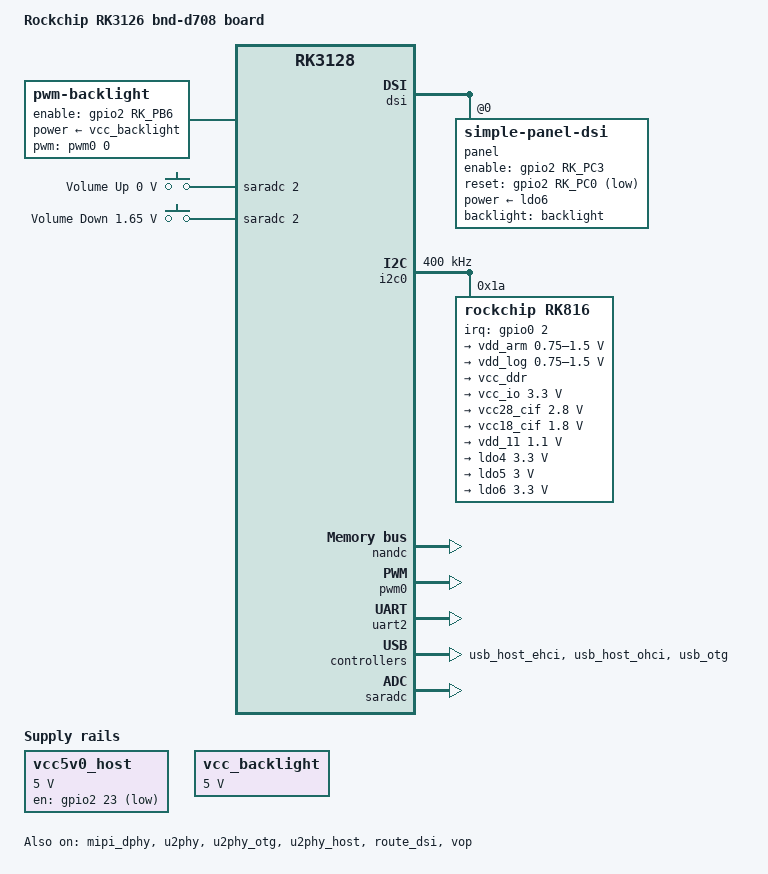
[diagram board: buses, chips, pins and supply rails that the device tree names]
/*
 * (C) Copyright 2017 Rockchip Electronics Co., Ltd
 *
 * SPDX-License-Identifier:     GPL-2.0+
 */

/dts-v1/;

#include "rk3128.dtsi"
#include "rk3128-u-boot.dtsi"
#include <dt-bindings/input/input.h>

/ {
	model = "Rockchip RK3126 bnd-d708 board";
	compatible = "rockchip,rk3128-evb", "rockchip,rk3128";

	chosen {
		stdout-path = &uart2;
	};

	vcc5v0_host: vcc5v0-host-drv {
		compatible = "regulator-fixed";
		regulator-name = "vcc5v0_host";
		gpio = <&gpio2 23 GPIO_ACTIVE_HIGH>;
		pinctrl-names = "default";
		pinctrl-0 = <&host_vbus_drv>;
		regulator-min-microvolt = <5000000>;
		regulator-max-microvolt = <5000000>;
		regulator-always-on;
	};

	vcc_backlight: vcc-backlight {
		compatible = "regulator-fixed";
		regulator-name = "vcc_backlight";
		regulator-min-microvolt = <5000000>;
		regulator-max-microvolt = <5000000>;
		regulator-always-on;
	};

	backlight: backlight {
		compatible = "pwm-backlight";
		brightness-levels = <
			255 169 168 168 167 166 166 165
			164 164 163 162 162 161 160 160
			159 158 158 157 156 156 155 154
			154 153 152 152 151 150 150 149
			148 148 147 146 146 145 144 144
			143 142 142 141 140 140 139 138
			138 137 136 136 135 134 134 133
			132 132 131 130 130 129 128 128
			127 126 126 125 124 124 123 122
			122 121 120 120 119 118 118 117
			116 116 115 114 114 113 112 112
			111 110 110 109 108 108 107 106
			106 105 104 104 103 102 102 101
			100 100  99  98  98  97  96  96
			 95  94  94  93  92  92  91  90
			 90  89  88  88  87  86  86  85
			 84  84  83  82  82  81  80  80
			 79  78  78  77  76  76  75  74
			 74  73  72  72  71  70  70  69
			 68  68  67  66  66  65  64  64
			 63  62  62  61  60  60  59  58
			 58  57  56  56  55  54  54  53
			 52  52  51  50  50  49  48  48
			 47  46  46  45  44  44  43  42
			 42  41  40  40  39  38  38  37
			 36  36  35  34  34  33  32  32
			 31  30  30  29  28  28  27  26
			 26  25  24  24  23  22  22  21
			 20  20  19  18  18  17  16  16
			 15  14  14  13  12  12  11  10
			 10   9   8   8   7   6   6   5
			  4   4   3   2   1   1   1   0>;
		default-brightness-level = <128>;
		pwms = <&pwm0 0 25000 0>;
		enable-gpios = <&gpio2 RK_PB6 GPIO_ACTIVE_HIGH>;
		power-supply = <&vcc_backlight>;
		status = "okay";
	};

	adc-keys {
		compatible = "adc-keys";
		io-channels = <&saradc 2>;
		io-channel-names = "buttons";
		poll-interval = <100>;
		keyup-threshold-microvolt = <3300000>;

		button-up {
			label = "Volume Up";
			linux,code = <KEY_VOLUMEUP>;
			press-threshold-microvolt = <0>;
		};

		button-down {
			label = "Volume Down";
			linux,code = <KEY_VOLUMEDOWN>;
			press-threshold-microvolt = <1650000>;
		};
	};

	charge-animation {
		compatible = "charge-animation";
		screen-on-voltage-threshold = <3350>;
		power-on-voltage-threshold = <3450>;
		power-on-soc-threshold = <0>;
		status = "okay";
	};
};

&mipi_dphy {
	status = "okay";
};

&dsi {
	status = "okay";

	panel@0 {
		compatible = "simple-panel-dsi";
		reg = <0>;
		backlight = <&backlight>;
		power-supply = <&ldo6>;
		power-invert = <1>;
		enable-gpios = <&gpio2 RK_PC3 GPIO_ACTIVE_HIGH>;
		reset-gpios = <&gpio2 RK_PC0 GPIO_ACTIVE_LOW>;
		prepare-delay-ms = <20>;
		reset-delay-ms = <20>;
		init-delay-ms = <20>;
		enable-delay-ms = <120>;
		disable-delay-ms = <20>;
		unprepare-delay-ms = <20>;

		width-mm = <153>;
		height-mm = <85>;

		dsi,flags = <(MIPI_DSI_MODE_VIDEO | MIPI_DSI_MODE_VIDEO_BURST |
			      MIPI_DSI_MODE_LPM | MIPI_DSI_MODE_EOT_PACKET)>;
		dsi,format = <MIPI_DSI_FMT_RGB888>;
		dsi,lanes = <4>;
		status = "okay";

		panel-init-sequence = [
			05 1e 01 01
			15 00 02 80 47
			15 00 02 81 40
			15 00 02 82 04
			15 00 02 83 77
			15 00 02 84 0f
			15 00 02 85 70
			15 78 02 86 70
		];

		display-timings {
			native-mode = <&timing0>;

			timing0: timing0 {
				clock-frequency = <49500000>;
				hactive = <1024>;
				hfront-porch = <120>;
				hsync-len = <40>;
				hback-porch = <120>;
				vactive = <600>;
				vfront-porch = <14>;
				vsync-len = <4>;
				vback-porch = <14>;
				hsync-active = <0>;
				vsync-active = <0>;
				de-active = <0>;
				pixelclk-active = <0>;
			};
		};
	};
};

&i2c0 {
	status = "okay";
	clock-frequency = <400000>;

	rk816: pmic@1a {
		compatible = "rockchip,rk816";
		reg = <0x1a>;
		interrupt-parent = <&gpio0>;
		interrupts = <2 IRQ_TYPE_LEVEL_LOW>;
		pinctrl-names = "default";
		pinctrl-0 = <&pmic_int_l>;
		rockchip,system-power-controller;
		wakeup-source;
		gpio-controller;
		#gpio-cells = <2>;
		#clock-cells = <1>;
		clock-output-names = "xin32k", "rk816-clkout2";

		gpio {
			status = "okay";
		};

		pwrkey {
			status = "okay";
		};

		rtc {
			status = "okay";
		};

		battery {
			compatible = "rk816-battery";
			ocv_table = < 3400 3654 3686 3710 3744 3775 3803
						  3825 3843 3858 3870 3886 3916 3955
						  3988 4010 4023 4032 4049 4080 4151 >;
			design_capacity = <2000>;
			design_qmax = <2200>;
			bat_res = <120>;
			max_input_current = <2000>;
			max_chrg_current = <1000>;
			max_chrg_voltage = <4200>;
			sleep_enter_current = <300>;
			sleep_exit_current = <300>;
			sleep_filter_current = <100>;
			power_off_thresd = <3500>;
			zero_algorithm_vol = <3800>;
			max_soc_offset = <60>;
			monitor_sec = <5>;
			virtual_power = <0>;
			power_dc2otg = <0>;
			dc_det_adc = <0>;
		};

		regulators {

			vdd_arm: DCDC_REG1{
				regulator-name= "vdd_arm";
				regulator-min-microvolt = <750000>;
				regulator-max-microvolt = <1500000>;
				regulator-ramp-delay = <6001>;
				regulator-always-on;
				regulator-boot-on;
				regulator-state-mem {
					regulator-on-in-suspend;
					regulator-suspend-microvolt = <900000>;
				};
			};

			vdd_log: DCDC_REG2 {
				regulator-name= "vdd_logic";
				regulator-min-microvolt = <750000>;
				regulator-max-microvolt = <1500000>;
				regulator-ramp-delay = <6001>;
				regulator-always-on;
				regulator-boot-on;
				regulator-state-mem {
					regulator-on-in-suspend;
					regulator-suspend-microvolt = <1000000>;
				};
			};

			vcc_ddr: DCDC_REG3 {
				regulator-name = "vcc_ddr";
				regulator-always-on;
				regulator-boot-on;
			};

			vcc_io: DCDC_REG4 {
				regulator-name = "vcc_io";
				regulator-min-microvolt = <3300000>;
				regulator-max-microvolt = <3300000>;
				regulator-always-on;
				regulator-boot-on;
				regulator-state-mem {
					regulator-on-in-suspend;
					regulator-suspend-microvolt = <3000000>;
				};
			};

			vcc28_cif: LDO_REG1 {
				regulator-name = "vcc28_cif";
				regulator-min-microvolt = <2800000>;
				regulator-max-microvolt = <2800000>;
				regulator-always-on;
				regulator-boot-on;
				regulator-state-mem {
					regulator-off-in-suspend;
				};
			};

			vcc18_cif: LDO_REG2 {
				regulator-name = "vcc18_cif";
				regulator-min-microvolt = <1800000>;
				regulator-max-microvolt = <1800000>;
				regulator-always-on;
				regulator-boot-on;
				regulator-state-mem {
					regulator-off-in-suspend;
				};
			};

			vdd_11: LDO_REG3 {
				regulator-name = "vdd_11";
				regulator-min-microvolt = <1100000>;
				regulator-max-microvolt = <1100000>;
				regulator-always-on;
				regulator-boot-on;
				regulator-state-mem {
					regulator-on-in-suspend;
					regulator-suspend-microvolt = <1100000>;
				};
			};

			ldo4: LDO_REG4 {
				regulator-name= "ldo4";
				regulator-min-microvolt = <3300000>;
				regulator-max-microvolt = <3300000>;
				regulator-always-on;
				regulator-boot-on;
				regulator-state-mem {
					regulator-off-in-suspend;
				};
			};

			ldo5: LDO_REG5 {
				regulator-name= "ldo5";
				regulator-min-microvolt = <3000000>;
				regulator-max-microvolt = <3000000>;
				regulator-always-on;
				regulator-boot-on;
				regulator-state-mem {
					regulator-off-in-suspend;
				};
			};

			ldo6: LDO_REG6 {
				regulator-name= "ldo6";
				regulator-min-microvolt = <3300000>;
				regulator-max-microvolt = <3300000>;
				regulator-state-mem {
					regulator-on-in-suspend;
					regulator-suspend-microvolt = <3300000>;
				};
			};
		};
	};
};

&nandc {
	u-boot,dm-pre-reloc;
	status = "okay";
};

&pwm0 {
	status = "okay";
};

&u2phy {
	status = "okay";
};

&u2phy_otg {
	status = "okay";
};

&u2phy_host {
	status = "okay";
};

&uart2 {
	clock-frequency = <24000000>;
	u-boot,dm-pre-reloc;
	status = "okay";
};

&usb_host_ehci {
	status = "okay";
};

&usb_host_ohci {
	status = "okay";
};

&usb_otg {
	status = "okay";
};

&pinctrl {
	usb_otg {
		otg_vbus_drv: otg-vbus-drv {
			rockchip,pins = <0 RK_PD2 RK_FUNC_GPIO &pcfg_pull_none>;
		};
	};

	usb_host {
		host_vbus_drv: host-vbus-drv {
			rockchip,pins = <2 RK_PC7 RK_FUNC_GPIO &pcfg_pull_none>;
		};
	};

	pmic_int_l: pmic-int-l {
			rockchip,pins =
				<0 RK_PA2 RK_FUNC_GPIO &pcfg_pull_none>;
	};
};

&route_dsi {
	status = "okay";
};

&vop {
	status = "okay";
};

&saradc {
	status = "okay";
};
